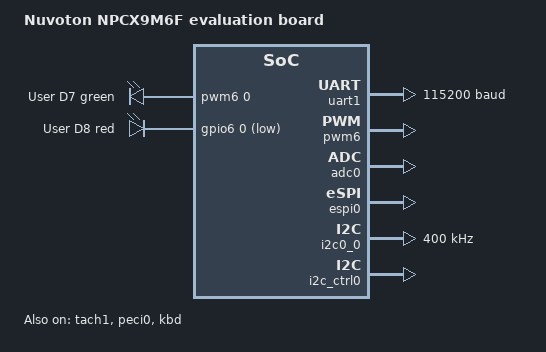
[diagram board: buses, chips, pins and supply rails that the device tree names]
/*
 * Copyright (c) 2021 Nuvoton Technology Corporation.
 *
 * SPDX-License-Identifier: Apache-2.0
 */

/dts-v1/;

#include <nuvoton/npcx9m6f.dtsi>
#include "npcx9m6f_evb-pinctrl.dtsi"

/ {
	model = "Nuvoton NPCX9M6F evaluation board";

	chosen {
		zephyr,sram = &sram0;
		zephyr,console = &uart1;
		zephyr,shell-uart = &uart1;
		zephyr,flash = &flash0;
	};

	aliases {
		/* For samples/basic/blinky_pwm */
		pwm-led0 = &pwm_led0_green;
		/* For gpio test suites */
		led0 = &gpio_led_red;
		/* For pwm test suites */
		pwm-0 = &pwm6;
		/* For i2c test suites */
		i2c-0 = &i2c0_0;
		/* For watchdog sample */
		watchdog0 = &twd0;
		peci-0 = &peci0;
	};

	leds-pwm {
		compatible = "pwm-leds";

		pwm_led0_green: pwm_led_0 {
			pwms = <&pwm6 0 PWM_MSEC(20) PWM_POLARITY_INVERTED>;
			label = "User D7 green";
		};
	};

	leds-gpio {
		compatible = "gpio-leds";

		gpio_led_red: led_0 {
			gpios = <&gpio6 0 GPIO_ACTIVE_LOW>;
			label = "User D8 red";
		};
	};
};

/* Overwrite default device properties with overlays in board dt file here. */
&uart1 {
	status = "okay";
	current-speed = <115200>;
	/* Use UART1_SL2 ie. PIN64.65 */
	pinctrl-0 = <&uart1_2_sin_gp64
		     &uart1_2_sout_gp65>;
	pinctrl-names = "default";
};

&pwm6 {
	status = "okay";
	pinctrl-0 = <&pwm6_gpc0>;
	pinctrl-names = "default";
};

&adc0 {
	status = "okay";
	/* Use adc0 channel 0 and 2 for 'adc_api' driver tests */
	pinctrl-0 = <&adc0_chan0_gp45
		     &adc0_chan2_gp43>;
	pinctrl-names = "default";
};

&espi0 {
	status = "okay";
	pinctrl-0 = <&espi_lpc_gp46_47_51_52_53_54_55_57>;
	pinctrl-names = "default";
};

&i2c0_0 {
	status = "okay";
	pinctrl-0 = <&i2c0_0_sda_scl_gpb4_b5>;
	pinctrl-names = "default";
	clock-frequency = <I2C_BITRATE_FAST>;
};

&i2c_ctrl0 {
	status = "okay";
};

&tach1 {
	status = "okay";
	pinctrl-0 = <&ta1_1_in_gp40>;
	pinctrl-names = "default";
	port = <NPCX_TACH_PORT_A>; /* port-A is selected */
	sample-clk = <NPCX_TACH_FREQ_LFCLK>; /* Use LFCLK as sampling clock */
	pulses-per-round = <1>; /* number of pulses per round of encoder */
};

&peci0 {
	status = "okay";
	pinctrl-0 = <&peci_dat_gp81>;
	pinctrl-names = "default";
};

&kbd {
	/* Demonstrate a 13 x 8 keyboard matrix on evb */
	pinctrl-0 = <&ksi0_gp31 /* KSI0 PIN31 */
		     &ksi1_gp30 /* KSI1 PIN30 */
		     &ksi2_gp27 /* KSI2 PIN27 */
		     &ksi3_gp26 /* KSI3 PIN26 */
		     &ksi4_gp25 /* KSI4 PIN25 */
		     &ksi5_gp24 /* KSI5 PIN24 */
		     &ksi6_gp23 /* KSI6 PIN23 */
		     &ksi7_gp22 /* KSI7 PIN22 */
		     &kso00_gp21 /* KSO00 PIN21 */
		     &kso01_gp20 /* KSO01 PIN20 */
		     &kso02_gp17 /* KSO02 PIN17 */
		     &kso03_gp16 /* KSO03 PIN16 */
		     &kso04_gp15 /* KSO04 PIN15 */
		     &kso05_gp14 /* KSO05 PIN14 */
		     &kso06_gp13 /* KSO06 PIN13 */
		     &kso07_gp12 /* KSO07 PIN12 */
		     &kso08_gp11 /* KSO08 PIN11 */
		     &kso09_gp10 /* KSO09 PIN10 */
		     &kso10_gp07 /* KSO10 PIN07 */
		     &kso11_gp06 /* KSO11 PIN06 */
		     &kso12_gp05 /* KSO12 PIN05 */ >;
	pinctrl-names = "default";
	row-size = <8>;
	col-size = <13>;
	status = "okay";
};
